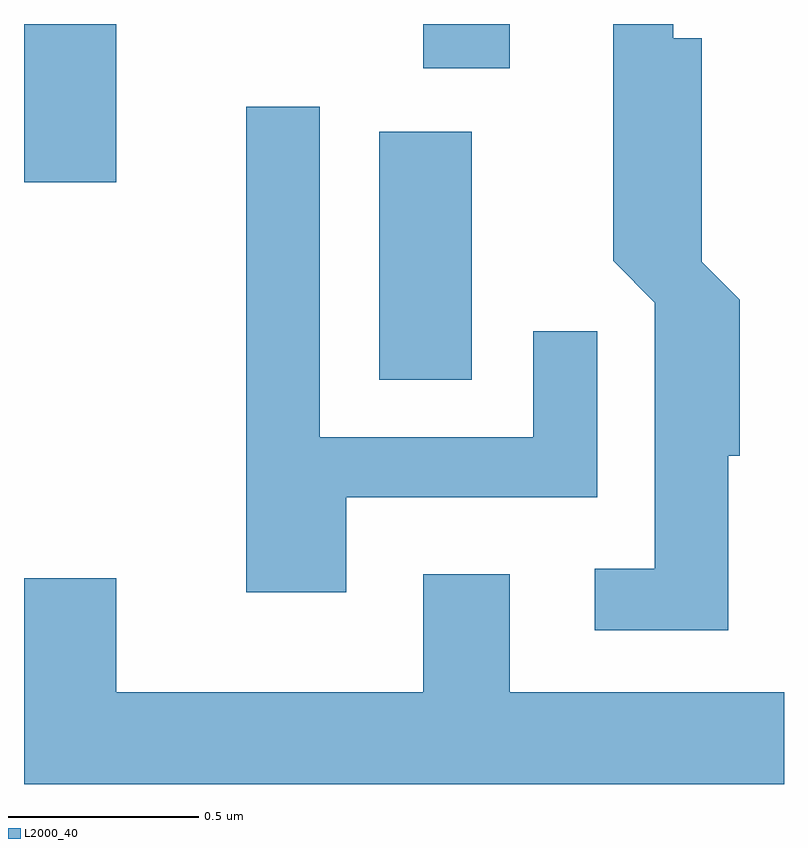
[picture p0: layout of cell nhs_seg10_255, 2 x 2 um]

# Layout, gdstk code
import gdstk
lib = gdstk.Library(unit=1e-6, precision=1e-09)
def R(c, l, rs):  # rectangles x0, y0, x1, y1
    for r in rs: c.add(gdstk.rectangle(r[:2], r[2:], *l))
def P(c, l, *ps):  # polygons
    for p in ps: c.add(gdstk.Polygon(p, *l))
L2000_40 = (2000, 40)

nhs_seg10_255 = lib.new_cell('nhs_seg10_255')
R(nhs_seg10_255, L2000_40, [(187.546,2201.586,187.789,2202.239), (186.611,2202.106,186.854,2202.522), (187.661,2202.406,187.889,2202.522)])
P(nhs_seg10_255, L2000_40, [(188.464,2201.386),(188.494,2201.386),(188.494,2201.797),(188.394,2201.897),(188.394,2202.484),(188.319,2202.484),(188.319,2202.522),(188.161,2202.522),(188.161,2201.899),(188.271,2201.789),(188.271,2201.089),(188.113,2201.089),(188.113,2200.926),(188.464,2200.926)],
  [(187.459,2201.276),(188.119,2201.276),(188.119,2201.713),(187.951,2201.713),(187.951,2201.434),(187.389,2201.434),(187.389,2202.304),(187.196,2202.304),(187.196,2201.026),(187.459,2201.026)],
  [(188.611,2200.764),(187.889,2200.764),(187.889,2201.074),(187.661,2201.074),(187.661,2200.764),(186.854,2200.764),(186.854,2201.064),(186.611,2201.064),(186.611,2200.522),(188.611,2200.522)])

lib.write_gds('nhs_seg10_255.gds')
